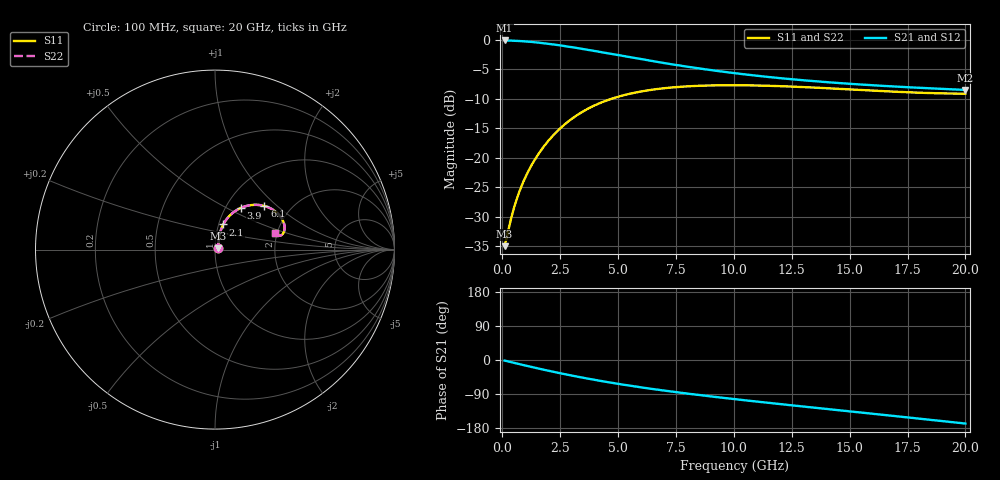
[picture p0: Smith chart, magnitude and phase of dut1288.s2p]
! Touchstone file exported from HFSS 2024.1.0
!  File:  C:/UserFiles/LocalFiles/RDL_TSV_Batchsim/temp_RDL_TSV_1288_1780279133.aedt
!  Generated:  10:16:26 AM Jun  1, 2026
!  Design:  RDL_TSV
!  Project:  temp_RDL_TSV_1288_1780279133
!  Setup:  Setup1
!  Solution:  Sweep
! Variables:
!  dtsv = 5.76um
!  hbump = 3um
!  htsv = 87.44um
!  ldown = 546.01um
!  lrdl = 135.98um
!  p = 40
!  p1 = 59.3um
!  rhole = 10um
!  subl = 2181.95um
!  t = 450um
!  tdown = 3.61um
!  trdl = 3.4um
!  viad = 10um
!  wdown = 14.73um
!  wrdl = 14.83um
!  xbump = 18um
# GHz S MA R 50.000000
! Terminal data exported
! Port[1] = TM1_1_T1
! Port[2] = TM1_4_T1
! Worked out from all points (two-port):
!   200 points, 100 MHz to 20 GHz, reference 50 ohm
!   highest |S21| = -0.15 dB at 100 MHz (marker M1); lowest = -8.5 dB at 20 GHz (marker M2)
!   |S21| within 3 dB of the highest: start of sweep to 5.746 GHz
!   lowest |S11| = -34.9 dB at 100 MHz (marker M3), VSWR 1.04, Z = 51.7 + j0.695 ohm
!   |S11| at or under -10 dB: start of sweep to 4.729 GHz
!   |S22| runs from -34.9 to -7.7 dB; largest |S21 - S12| = 8.5e-15
!   S11 on the Smith chart (normalised r, x): 100 MHz: 1.03, +0.01; 2.1 GHz: 1.05, +0.30; 3.9 GHz: 1.17, +0.59; 6.1 GHz: 1.48, +0.83; 20 GHz: 1.95, +0.42
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0.1  0.01789 22.1  0.9833 -1.5  0.9833 -1.5  0.01789 22.1
! Gamma 0 0 0 0
! Port Impedance 50 0 50 0
0.4  0.03176 55.5  0.9797 -6.0  0.9797 -6.0  0.03176 55.5
0.5  0.03743 60.3  0.9779 -7.4  0.9779 -7.4  0.03743 60.3
0.7  0.0494 66.4  0.9735 -10.3  0.9735 -10.3  0.0494 66.4
0.9  0.06205 69.8  0.968 -13.2  0.968 -13.2  0.06205 69.9
1.1  0.07528 71.8  0.9614 -16.1  0.9614 -16.1  0.07528 71.9
1.4  0.09609 73.1  0.9497 -20.3  0.9497 -20.3  0.0961 73.2
1.7  0.1178 73.1  0.9361 -24.4  0.9361 -24.4  0.1178 73.1
2.1  0.1475 71.7  0.9155 -29.8  0.9155 -29.8  0.1476 71.8
2.8  0.1994 67.3  0.8751 -38.7  0.8751 -38.7  0.1995 67.3
3.5  0.2475 61.7  0.8316 -47.0  0.8316 -47.0  0.2477 61.7
3.9  0.2723 58.3  0.8064 -51.5  0.8064 -51.5  0.2725 58.4
4.9  0.324 50.1  0.7447 -61.9  0.7447 -61.9  0.3243 50.2
6.1  0.3671 41.3  0.6771 -73.1  0.6771 -73.1  0.3675 41.4
6.8  0.3841 36.9  0.6419 -79.1  0.6419 -79.1  0.3846 36.9
8.3  0.4051 28.9  0.5775 -90.9  0.5775 -90.9  0.4057 28.9
10.1  0.4111 21.7  0.5181 -103.7  0.5181 -103.7  0.4117 21.7
11.7  0.4055 17.1  0.4783 -114.4  0.4783 -114.4  0.4063 17.1
13.4  0.3933 13.9  0.446 -125.4  0.446 -125.4  0.3942 13.9
16.7  0.3644 12.2  0.4033 -146.3  0.4033 -146.3  0.3653 12.2
18.4  0.3532 13.4  0.3877 -157.3  0.3877 -157.3  0.3542 13.4
20  0.3487 15.6  0.3751 -167.7  0.3751 -167.7  0.3498 15.5
